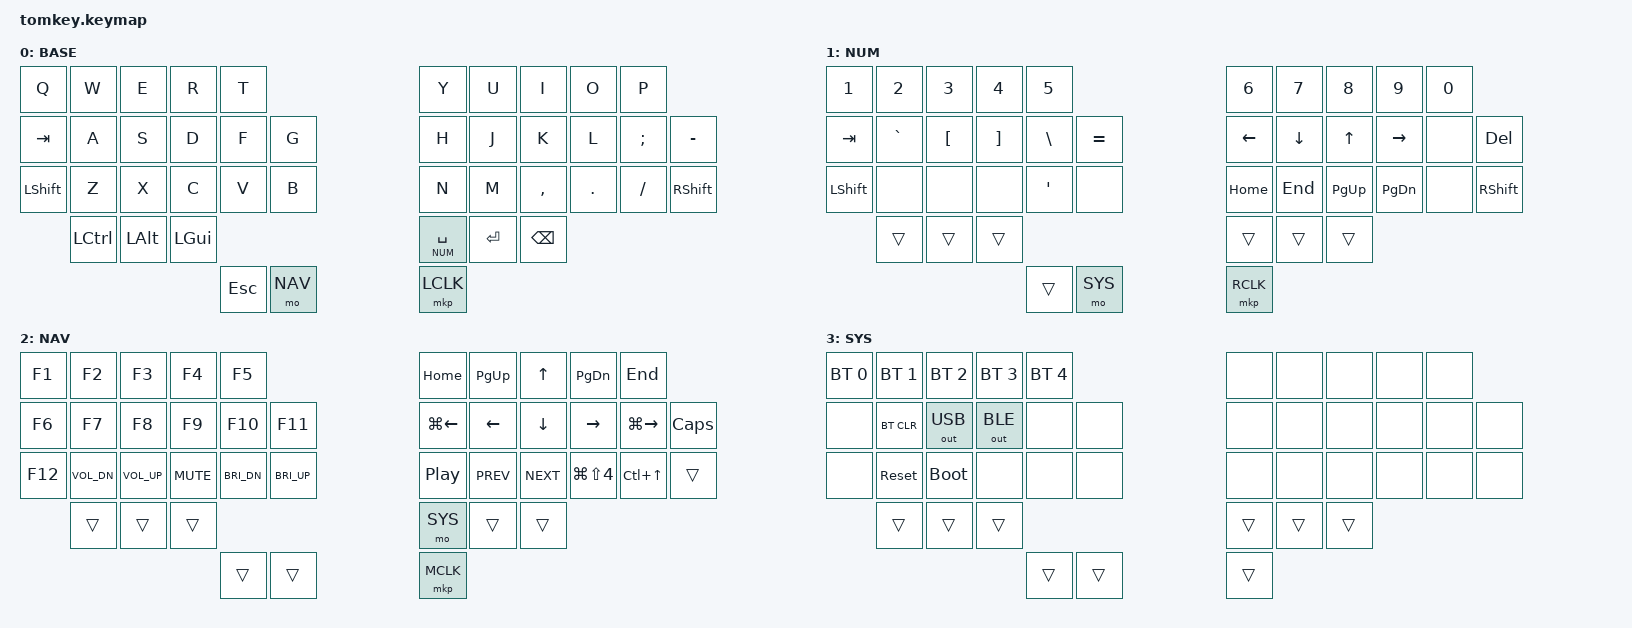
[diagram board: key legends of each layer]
/*
 * Copyright (c) 2024 Your Name
 * SPDX-License-Identifier: MIT
 * 
 * tomkeyLk Mac最適化版キーマップ
 * Layer 0: ベースレイヤー（アルファベット）
 * Layer 1: 数字・記号レイヤー
 * Layer 2: ナビゲーション・機能キー
 * Layer 3: システム・Bluetooth設定
 */

#include <behaviors.dtsi>
#include <dt-bindings/zmk/keys.h>
#include <dt-bindings/zmk/bt.h>
#include <dt-bindings/zmk/outputs.h>
#include <dt-bindings/zmk/mouse.h>

// レイヤー定義
#define BASE 0
#define NUM  1
#define NAV  2
#define SYS  3

// Hold-Tap設定
&lt {
    tapping-term-ms = <200>;
    quick-tap-ms = <150>;
    flavor = "tap-preferred";
};

/ {
    behaviors {
        // Space/Layer1のカスタムHold-Tap
        spc_layer: space_layer {
            compatible = "zmk,behavior-hold-tap";
            label = "SPACE_LAYER";
            #binding-cells = <2>;
            tapping-term-ms = <200>;
            quick-tap-ms = <150>;
            flavor = "tap-preferred";
            bindings = <&mo>, <&kp>;
        };
    };

    keymap {
        compatible = "zmk,keymap";

        // Layer 0: ベースレイヤー
        base_layer {
            label = "BASE";
            bindings = <
// ┌─────┬─────┬─────┬─────┬─────┐                    ┌─────┬─────┬─────┬─────┬─────┐
     &kp Q  &kp W  &kp E  &kp R  &kp T                      &kp Y  &kp U  &kp I  &kp O  &kp P
// ├─────┼─────┼─────┼─────┼─────┼─────┐            ┌─────┼─────┼─────┼─────┼─────┼─────┤
   &kp TAB  &kp A  &kp S  &kp D  &kp F  &kp G              &kp H  &kp J  &kp K  &kp L  &kp SEMI &kp MINUS
// ├─────┼─────┼─────┼─────┼─────┼─────┤            ├─────┼─────┼─────┼─────┼─────┼─────┤
  &kp LSHFT &kp Z  &kp X  &kp C  &kp V  &kp B              &kp N  &kp M  &kp COMMA &kp DOT &kp FSLH &kp RSHFT
// └─────┴─────┴─────┴─────┼─────┼─────┼─────┐      ┌─────┼─────┼─────┴─────┴─────┴─────┘
            &kp LCTRL &kp LALT &kp LGUI &spc_layer NUM SPACE    &kp RET &kp BSPC
//                   └─────┴─────┴─────┴─────┘      └─────┴─────┴─────┘
                              &kp ESC  &mo NAV           &mkp LCLK
//                            └─────┴─────┘            └─────┘
            >;
            
            trackball-bindings = <&tmv>;
        };

        // Layer 1: 数字・記号レイヤー
        number_layer {
            label = "NUM";
            bindings = <
// ┌─────┬─────┬─────┬─────┬─────┐                    ┌─────┬─────┬─────┬─────┬─────┐
     &kp N1 &kp N2 &kp N3 &kp N4 &kp N5                   &kp N6 &kp N7 &kp N8 &kp N9 &kp N0
// ├─────┼─────┼─────┼─────┼─────┼─────┐            ┌─────┼─────┼─────┼─────┼─────┼─────┤
   &kp TAB &kp GRAVE &kp LBKT &kp RBKT &kp BSLH &kp EQUAL  &kp LEFT &kp DOWN &kp UP &kp RIGHT &none &kp DEL
// ├─────┼─────┼─────┼─────┼─────┼─────┤            ├─────┼─────┼─────┼─────┼─────┼─────┤
  &kp LSHFT &none &none &none &kp APOS &none              &kp HOME &kp END &kp PG_UP &kp PG_DN &none &kp RSHFT
// └─────┴─────┴─────┴─────┼─────┼─────┼─────┐      ┌─────┼─────┼─────┴─────┴─────┴─────┘
                    &trans &trans &trans &trans           &trans &trans
//                   └─────┴─────┴─────┴─────┘      └─────┴─────┴─────┘
                              &trans &mo SYS             &mkp RCLK
//                            └─────┴─────┘            └─────┘
            >;
            
            trackball-bindings = <&tmv>;
        };

        // Layer 2: ナビゲーション・機能キー
        navigation_layer {
            label = "NAV";
            bindings = <
// ┌─────┬─────┬─────┬─────┬─────┐                    ┌─────┬─────┬─────┬─────┬─────┐
     &kp F1 &kp F2 &kp F3 &kp F4 &kp F5                   &kp HOME &kp PG_UP &kp UP &kp PG_DN &kp END
// ├─────┼─────┼─────┼─────┼─────┼─────┐            ┌─────┼─────┼─────┼─────┼─────┼─────┤
   &kp F6 &kp F7 &kp F8 &kp F9 &kp F10 &kp F11      &kp LG(LEFT) &kp LEFT &kp DOWN &kp RIGHT &kp LG(RIGHT) &kp CAPS
// ├─────┼─────┼─────┼─────┼─────┼─────┤            ├─────┼─────┼─────┼─────┼─────┼─────┤
  &kp F12 &kp C_VOL_DN &kp C_VOL_UP &kp C_MUTE &kp C_BRI_DN &kp C_BRI_UP    &kp C_PP &kp C_PREV &kp C_NEXT &kp LG(LS(N4)) &kp LC(UP) &trans
// └─────┴─────┴─────┴─────┼─────┼─────┼─────┐      ┌─────┼─────┼─────┴─────┴─────┴─────┘
                    &trans &trans &trans &mo SYS          &trans &trans
//                   └─────┴─────┴─────┴─────┘      └─────┴─────┴─────┘
                              &trans &trans              &mkp MCLK
//                            └─────┴─────┘            └─────┘
            >;
            
            trackball-bindings = <&tsl>;
        };

        // Layer 3: システム・Bluetooth設定
        system_layer {
            label = "SYS";
            bindings = <
// ┌─────┬─────┬─────┬─────┬─────┐                    ┌─────┬─────┬─────┬─────┬─────┐
   &bt BT_SEL 0 &bt BT_SEL 1 &bt BT_SEL 2 &bt BT_SEL 3 &bt BT_SEL 4    &none &none &none &none &none
// ├─────┼─────┼─────┼─────┼─────┼─────┐            ┌─────┼─────┼─────┼─────┼─────┼─────┤
   &none &bt BT_CLR &out OUT_USB &out OUT_BLE &none &none    &none &none &none &none &none &none
// ├─────┼─────┼─────┼─────┼─────┼─────┤            ├─────┼─────┼─────┼─────┼─────┼─────┤
   &none &sys_reset &bootloader &none &none &none           &none &none &none &none &none &none
// └─────┴─────┴─────┴─────┼─────┼─────┼─────┐      ┌─────┼─────┼─────┴─────┴─────┴─────┘
                    &trans &trans &trans &trans           &trans &trans
//                   └─────┴─────┴─────┴─────┘      └─────┴─────┴─────┘
                              &trans &trans              &trans
//                            └─────┴─────┘            └─────┘
            >;
            
            trackball-bindings = <&tmv>;
        };
    };
};
